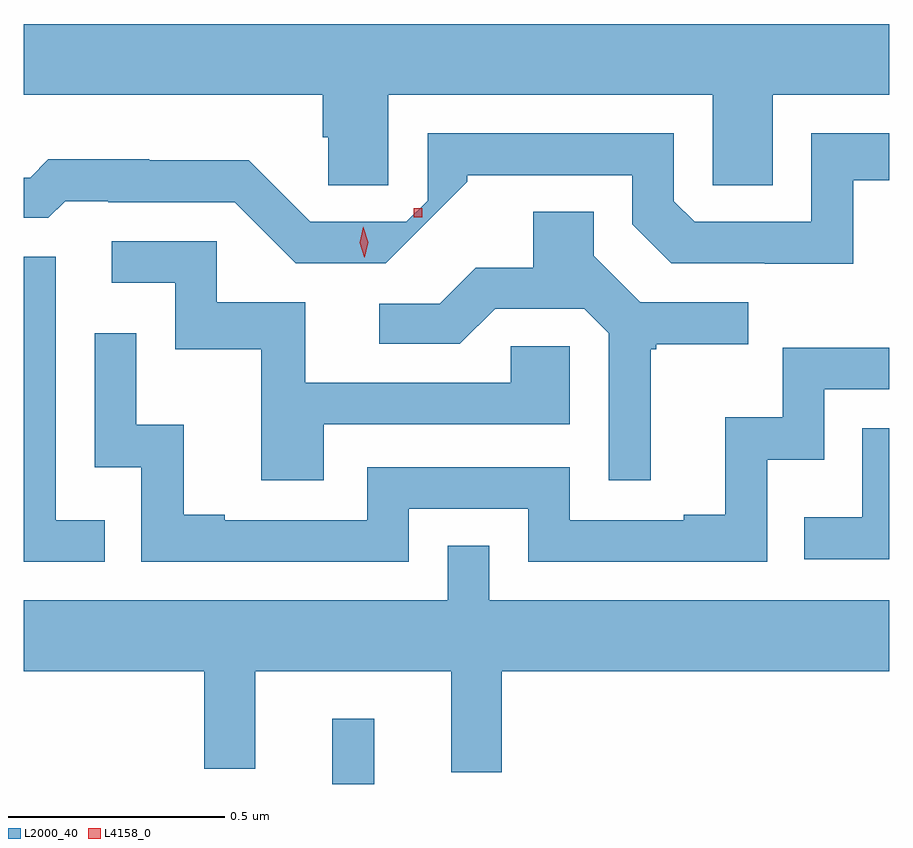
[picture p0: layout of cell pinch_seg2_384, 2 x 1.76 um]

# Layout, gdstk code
import gdstk
lib = gdstk.Library(unit=1e-6, precision=1e-09)
def R(c, l, rs):  # rectangles x0, y0, x1, y1
    for r in rs: c.add(gdstk.rectangle(r[:2], r[2:], *l))
def P(c, l, *ps):  # polygons
    for p in ps: c.add(gdstk.Polygon(p, *l))
L2000_40 = (2000, 40)
L4158_0 = (4158, 0)

pinch_seg2_384 = lib.new_cell('pinch_seg2_384')
R(pinch_seg2_384, L2000_40, [(1001.733,619.404,1001.83,619.555)])
P(pinch_seg2_384, L2000_40, [(1001.862,620.996),(1002.612,620.996),(1002.612,620.788),(1002.751,620.788),(1002.751,620.996),(1003.02,620.996),(1003.02,621.16),(1001.02,621.16),(1001.02,620.996),(1001.711,620.996),(1001.711,620.898),(1001.724,620.898),(1001.724,620.788),(1001.862,620.788)],
  [(1002.937,620.799),(1003.02,620.799),(1003.02,620.907),(1002.84,620.907),(1002.84,620.703),(1002.57,620.703),(1002.522,620.751),(1002.522,620.907),(1001.953,620.907),(1001.953,620.752),(1001.904,620.703),(1001.682,620.703),(1001.54,620.845),(1001.31,620.845),(1001.31,620.848),(1001.077,620.848),(1001.035,620.805),(1001.02,620.805),(1001.02,620.712),(1001.077,620.712),(1001.116,620.751),(1001.215,620.751),(1001.215,620.748),(1001.508,620.748),(1001.649,620.607),(1001.857,620.607),(1002.045,620.795),(1002.045,620.811),(1002.426,620.811),(1002.426,620.697),(1002.516,620.607),(1002.732,620.607),(1002.732,620.606),(1002.937,620.606)],
  [(1002.469,620.409),(1002.481,620.409),(1002.481,620.42),(1002.694,620.42),(1002.694,620.517),(1002.444,620.517),(1002.337,620.624),(1002.337,620.726),(1002.197,620.726),(1002.197,620.597),(1002.064,620.597),(1001.981,620.514),(1001.841,620.514),(1001.841,620.421),(1002.028,620.421),(1002.109,620.502),(1002.315,620.502),(1002.372,620.445),(1002.372,620.106),(1002.469,620.106)],
  [(1001.713,620.235),(1002.282,620.235),(1002.282,620.415),(1002.145,620.415),(1002.145,620.331),(1001.671,620.331),(1001.671,620.517),(1001.466,620.517),(1001.466,620.658),(1001.223,620.658),(1001.223,620.562),(1001.37,620.562),(1001.37,620.409),(1001.569,620.409),(1001.569,620.106),(1001.713,620.106)],
  [(1001.207,620.013),(1001.094,620.013),(1001.094,620.622),(1001.02,620.622),(1001.02,619.917),(1001.207,619.917)],
  [(1001.91,620.04),(1002.186,620.04),(1002.186,619.917),(1002.738,619.917),(1002.738,620.153),(1002.87,620.153),(1002.87,620.316),(1003.02,620.316),(1003.02,620.412),(1002.774,620.412),(1002.774,620.251),(1002.641,620.251),(1002.641,620.026),(1002.545,620.026),(1002.545,620.013),(1002.282,620.013),(1002.282,620.136),(1001.814,620.136),(1001.814,620.013),(1001.485,620.013),(1001.485,620.026),(1001.39,620.026),(1001.39,620.234),(1001.28,620.234),(1001.28,620.446),(1001.184,620.446),(1001.184,620.136),(1001.292,620.136),(1001.292,619.917),(1001.91,619.917)],
  [(1003.02,620.226),(1002.958,620.226),(1002.958,620.02),(1002.823,620.02),(1002.823,619.923),(1003.02,619.923)],
  [(1002.125,619.664),(1003.02,619.664),(1003.02,619.828),(1002.096,619.828),(1002.096,619.955),(1002,619.955),(1002,619.828),(1001.02,619.828),(1001.02,619.664),(1001.437,619.664),(1001.437,619.439),(1001.555,619.439),(1001.555,619.664),(1002.008,619.664),(1002.008,619.431),(1002.125,619.431)])
R(pinch_seg2_384, L4158_0, [(1001.921,620.714,1001.941,620.734)])
P(pinch_seg2_384, L4158_0, [(1001.807,620.621),(1001.807,620.621),(1001.796,620.655),(1001.804,620.691),(1001.804,620.691),(1001.804,620.691),(1001.816,620.656),(1001.808,620.621)])

lib.write_gds('pinch_seg2_384.gds')
